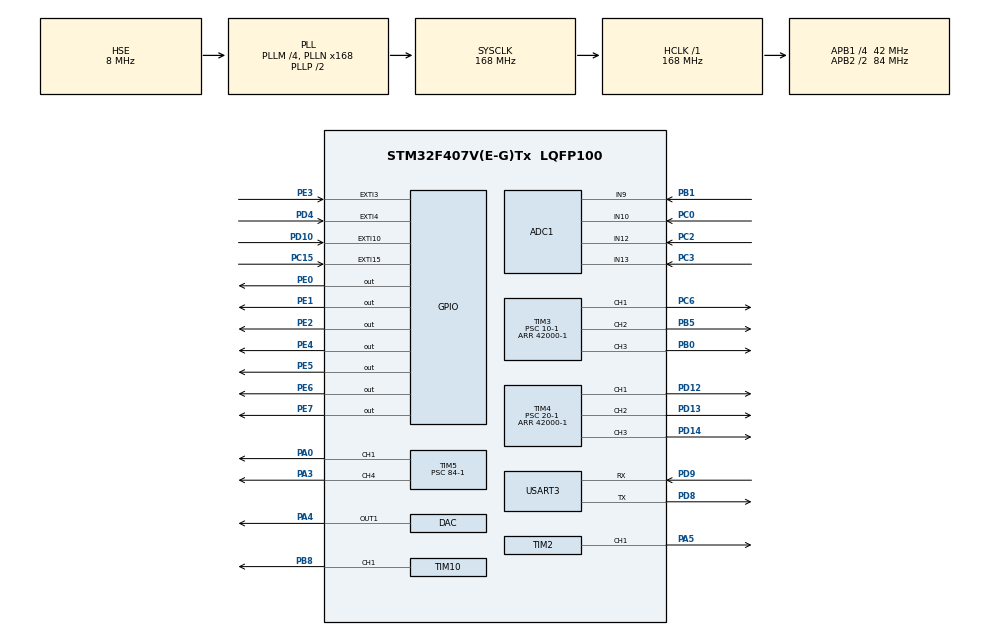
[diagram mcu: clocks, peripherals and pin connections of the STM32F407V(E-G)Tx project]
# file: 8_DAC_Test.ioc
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ADC1.Channel-0\#ChannelRegularConversion=ADC_CHANNEL_10
ADC1.Channel-1\#ChannelRegularConversion=ADC_CHANNEL_12
ADC1.Channel-2\#ChannelRegularConversion=ADC_CHANNEL_13
ADC1.Channel-3\#ChannelRegularConversion=ADC_CHANNEL_9
ADC1.ClockPrescaler=ADC_CLOCK_SYNC_PCLK_DIV4
ADC1.ContinuousConvMode=ENABLE
ADC1.DiscontinuousConvMode=DISABLE
ADC1.EOCSelection=ADC_EOC_SINGLE_CONV
ADC1.NbrOfConversion=4
ADC1.NbrOfConversionFlag=1
ADC1.Rank-0\#ChannelRegularConversion=1
ADC1.Rank-1\#ChannelRegularConversion=2
ADC1.Rank-2\#ChannelRegularConversion=3
ADC1.Rank-3\#ChannelRegularConversion=4
ADC1.SamplingTime-0\#ChannelRegularConversion=ADC_SAMPLETIME_84CYCLES
ADC1.SamplingTime-1\#ChannelRegularConversion=ADC_SAMPLETIME_84CYCLES
ADC1.SamplingTime-2\#ChannelRegularConversion=ADC_SAMPLETIME_84CYCLES
ADC1.SamplingTime-3\#ChannelRegularConversion=ADC_SAMPLETIME_3CYCLES
ADC1.ScanConvMode=ENABLE
ADC1.master=1
Dma.ADC1.0.Direction=DMA_PERIPH_TO_MEMORY
Dma.ADC1.0.FIFOMode=DMA_FIFOMODE_DISABLE
Dma.ADC1.0.Instance=DMA2_Stream0
Dma.ADC1.0.MemDataAlignment=DMA_MDATAALIGN_HALFWORD
Dma.ADC1.0.MemInc=DMA_MINC_ENABLE
Dma.ADC1.0.Mode=DMA_CIRCULAR
Dma.ADC1.0.PeriphDataAlignment=DMA_PDATAALIGN_HALFWORD
Dma.ADC1.0.PeriphInc=DMA_PINC_DISABLE
Dma.ADC1.0.Priority=DMA_PRIORITY_LOW
Dma.Request0=ADC1
Mcu.Family=STM32F4
Mcu.Name=STM32F407V(E-G)Tx
Mcu.Package=LQFP100
NVIC.DMA2_Stream0_IRQn=true\:0\:0\:false\:false\:true\:false\:true\:true
NVIC.EXTI15_10_IRQn=true\:0\:0\:false\:false\:true\:true\:true\:true
NVIC.EXTI3_IRQn=true\:0\:0\:false\:false\:true\:true\:true\:true
NVIC.EXTI4_IRQn=true\:0\:0\:false\:false\:true\:true\:true\:true
NVIC.PriorityGroup=NVIC_PRIORITYGROUP_4
NVIC.TIM7_IRQn=true\:0\:0\:false\:true\:true\:2\:true\:true\:true
NVIC.USART3_IRQn=true\:0\:0\:false\:true\:true\:1\:true\:true\:true
PA0-WKUP.Signal=S_TIM5_CH1
PA3.Signal=S_TIM5_CH4
PA4.Signal=COMP_DAC1_group
PA5.Signal=S_TIM2_CH1_ETR
PB0.Signal=S_TIM3_CH3
PB1.Signal=ADCx_IN9
PB5.Signal=S_TIM3_CH2
PB8.Signal=S_TIM10_CH1
PC0.Signal=ADCx_IN10
PC15-OSC32_OUT.Signal=GPXTI15
PC2.Signal=ADCx_IN12
PC3.Signal=ADCx_IN13
PC6.Signal=S_TIM3_CH1
PD10.Signal=GPXTI10
PD12.Signal=S_TIM4_CH1
PD13.Signal=S_TIM4_CH2
PD14.Signal=S_TIM4_CH3
PD4.Signal=GPXTI4
PD8.Mode=Asynchronous
PD8.Signal=USART3_TX
PD9.Mode=Asynchronous
PD9.Signal=USART3_RX
PE0.Signal=GPIO_Output
PE1.Signal=GPIO_Output
PE2.Signal=GPIO_Output
PE3.Signal=GPXTI3
PE4.Signal=GPIO_Output
PE5.Signal=GPIO_Output
PE6.Signal=GPIO_Output
PE7.Signal=GPIO_Output
PH0-OSC_IN.Mode=HSE-External-Oscillator
PH0-OSC_IN.Signal=RCC_OSC_IN
PH1-OSC_OUT.Mode=HSE-External-Oscillator
PH1-OSC_OUT.Signal=RCC_OSC_OUT
ProjectManager.HeapSize=0x200
ProjectManager.StackSize=0x400
ProjectManager.TargetToolchain=STM32CubeIDE
RCC.48MHZClocksFreq_Value=84000000
RCC.AHBFreq_Value=168000000
RCC.APB1CLKDivider=RCC_HCLK_DIV4
RCC.APB1Freq_Value=42000000
RCC.APB1TimFreq_Value=84000000
RCC.APB2CLKDivider=RCC_HCLK_DIV2
RCC.APB2Freq_Value=84000000
RCC.APB2TimFreq_Value=168000000
RCC.CortexFreq_Value=168000000
RCC.HCLKFreq_Value=168000000
RCC.HSE_VALUE=8000000
RCC.HSI_VALUE=16000000
RCC.LSE_VALUE=32768
RCC.PLLM=4
RCC.PLLN=168
RCC.PLLSourceVirtual=RCC_PLLSOURCE_HSE
RCC.SYSCLKFreq_VALUE=168000000
RCC.SYSCLKSource=RCC_SYSCLKSOURCE_PLLCLK
RCC.VCOOutputFreq_Value=336000000
SH.ADCx_IN10.0=ADC1_IN10,IN10
SH.ADCx_IN12.0=ADC1_IN12,IN12
SH.ADCx_IN13.0=ADC1_IN13,IN13
SH.ADCx_IN9.0=ADC1_IN9,IN9
SH.COMP_DAC1_group.0=DAC_OUT1,DAC_OUT1
SH.S_TIM10_CH1.0=TIM10_CH1,PWM Generation1 CH1
SH.S_TIM2_CH1_ETR.0=TIM2_CH1,PWM Generation1 CH1
SH.S_TIM3_CH1.0=TIM3_CH1,PWM Generation1 CH1
SH.S_TIM3_CH2.0=TIM3_CH2,PWM Generation2 CH2
SH.S_TIM3_CH3.0=TIM3_CH3,PWM Generation3 CH3
SH.S_TIM4_CH1.0=TIM4_CH1,PWM Generation1 CH1
SH.S_TIM4_CH2.0=TIM4_CH2,PWM Generation2 CH2
SH.S_TIM4_CH3.0=TIM4_CH3,PWM Generation3 CH3
SH.S_TIM5_CH1.0=TIM5_CH1,PWM Generation1 CH1
SH.S_TIM5_CH4.0=TIM5_CH4,Output Compare4 CH4
TIM10.Channel=TIM_CHANNEL_1
TIM10.Period=10000-1
TIM10.Prescaler=336-1
TIM10.Pulse=100
TIM2.Channel-PWM\ Generation1\ CH1=TIM_CHANNEL_1
TIM2.Period=1000-1
TIM2.Prescaler=168-1
TIM2.Pulse-PWM\ Generation1\ CH1=500
TIM3.Channel-PWM\ Generation1\ CH1=TIM_CHANNEL_1
TIM3.Channel-PWM\ Generation2\ CH2=TIM_CHANNEL_2
TIM3.Channel-PWM\ Generation3\ CH3=TIM_CHANNEL_3
TIM3.Period=42000-1
TIM3.Prescaler=10-1
TIM3.Pulse-PWM\ Generation1\ CH1=21000-1
TIM3.Pulse-PWM\ Generation2\ CH2=10500-1
TIM3.Pulse-PWM\ Generation3\ CH3=5250-1
TIM4.Channel-PWM\ Generation1\ CH1=TIM_CHANNEL_1
TIM4.Channel-PWM\ Generation2\ CH2=TIM_CHANNEL_2
TIM4.Channel-PWM\ Generation3\ CH3=TIM_CHANNEL_3
TIM4.Period=42000-1
TIM4.Prescaler=20-1
TIM4.Pulse-PWM\ Generation1\ CH1=21000-1
TIM4.Pulse-PWM\ Generation2\ CH2=10500-1
TIM4.Pulse-PWM\ Generation3\ CH3=5250-1
TIM5.Channel-Output\ Compare4\ CH4=TIM_CHANNEL_4
TIM5.Channel-PWM\ Generation1\ CH1=TIM_CHANNEL_1
TIM5.Period=10000-1
TIM5.Prescaler=84-1
TIM5.Pulse-PWM\ Generation1\ CH1=5000
TIM7.Period=8399
TIM7.Prescaler=9999
USART3.VirtualMode=VM_ASYNC
VP_TIM10_VS_ClockSourceINT.Mode=Enable_Timer
VP_TIM2_VS_ClockSourceINT.Mode=Internal
VP_TIM3_VS_ClockSourceINT.Mode=Internal
VP_TIM4_VS_ClockSourceINT.Mode=Internal
VP_TIM5_VS_ClockSourceINT.Mode=Internal
VP_TIM7_VS_ClockSourceINT.Mode=Enable_Timer
board=custom

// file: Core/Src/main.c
/* USER CODE BEGIN Header */
/**
  ******************************************************************************
  * @file           : main.c
  * @brief          : Main program body
  ******************************************************************************
  * @attention
  *
  * Copyright (c) 2022 STMicroelectronics.
  * All rights reserved.
  *
  * This software is licensed under terms that can be found in the LICENSE file
  * in the root directory of this software component.
  * If no LICENSE file comes with this software, it is provided AS-IS.
  *
  ******************************************************************************
  */
/* USER CODE END Header */
#include "main.h"
#include "adc.h"
#include "dac.h"
#include "dma.h"
#include "tim.h"
#include "usart.h"
#include "gpio.h"

/* USER CODE BEGIN Includes */
#include <stdio.h>
#include "CLCD.h"
#include "7seg.h"
#include <math.h> //v/
/* USER CODE END Includes */

uint8_t rx3_data;

void SystemClock_Config(void);
static void MX_NVIC_Init(void);
/* USER CODE BEGIN PFP */
int _write(int file, char* p, int len)
{
	HAL_UART_Transmit(&huart3, p, len, 10);
	return len;
}
/* USER CODE END PFP */

int main(void)
{
  /* USER CODE BEGIN 1 */
	volatile uint16_t adcval[4];
  /* USER CODE END 1 */

  /* MCU Configuration--------------------------------------------------------*/

  /* Reset of all peripherals, Initializes the Flash interface and the Systick. */
  HAL_Init();

  /* Configure the system clock */
  SystemClock_Config();

  /* Initialize all configured peripherals */
  MX_GPIO_Init();
  MX_DMA_Init();
  MX_USART3_UART_Init();
  MX_TIM7_Init();
  MX_TIM3_Init();
  MX_TIM4_Init();
  MX_TIM10_Init();
  MX_TIM2_Init();
  MX_TIM5_Init();
  MX_ADC1_Init();
  MX_DAC_Init();

  /* Initialize interrupts */
  MX_NVIC_Init();
  /* USER CODE BEGIN 2 */
	HAL_GPIO_WritePin(GPIOC, GPIO_PIN_6, GPIO_PIN_SET);
	HAL_GPIO_WritePin(GPIOB, GPIO_PIN_0, GPIO_PIN_SET);
	HAL_GPIO_WritePin(GPIOB, GPIO_PIN_5, GPIO_PIN_SET);

	HAL_GPIO_WritePin(GPIOD, GPIO_PIN_12, GPIO_PIN_SET);
	HAL_GPIO_WritePin(GPIOD, GPIO_PIN_13, GPIO_PIN_SET);
	HAL_GPIO_WritePin(GPIOD, GPIO_PIN_14, GPIO_PIN_SET);

	HAL_UART_Receive_IT(&huart3, &rx3_data, 1);
	HAL_TIM_Base_Start_IT(&htim7);

	_7SEG_GPIO_Init();

	HAL_TIM_PWM_Start(&htim3, TIM_CHANNEL_1);
	HAL_TIM_PWM_Start(&htim3, TIM_CHANNEL_2);
	HAL_TIM_PWM_Start(&htim3, TIM_CHANNEL_3);

	HAL_TIM_PWM_Start(&htim4, TIM_CHANNEL_1);
	HAL_TIM_PWM_Start(&htim4, TIM_CHANNEL_2);
	HAL_TIM_PWM_Start(&htim4, TIM_CHANNEL_3);

	HAL_TIM_PWM_Start(&htim10, TIM_CHANNEL_1); //servo

	//HAL_TIM_PWM_Start(&htim2, TIM_CHANNEL_1); //buzzer

	HAL_TIM_PWM_Start(&htim5, TIM_CHANNEL_1); //DC
	HAL_TIM_PWM_Start(&htim5, TIM_CHANNEL_4); //DC

	//HAL_ADC_Start_DMA(&hadc1, &adcval[0], 4); //DMA

	HAL_DAC_Start(&hdac, DAC_CHANNEL_1); //v/ DAC

	TIM10->CCR1 = 1500;

	//부저 주파수 상승
	//TIM2->ARR = 500;
	//TIM2->CCR1 = TIM2->ARR / 2;

	// 시계방향 회전(DC)
	TIM5->CCR1 = 0;
	TIM5->CCR4 = 5000; // 0 ~ 10000 값에 비례하게 회전 속도제어
  /* USER CODE END 2 */
	uint8_t a = 0;
	float f = 1.234;
	uint8_t str[20];
	uint16_t ccr = 0;
	uint16_t arr = 1000;
	uint8_t ud_flag = 0;
	uint16_t dacval = 0; //v/

  /* Infinite loop */
  while (1)
  {

  }
}

void SystemClock_Config(void)
{
  RCC_OscInitTypeDef RCC_OscInitStruct = {0};
  RCC_ClkInitTypeDef RCC_ClkInitStruct = {0};

  /** Configure the main internal regulator output voltage
  */
  __HAL_RCC_PWR_CLK_ENABLE();
  __HAL_PWR_VOLTAGESCALING_CONFIG(PWR_REGULATOR_VOLTAGE_SCALE1);

  /** Initializes the RCC Oscillators according to the specified parameters
  * in the RCC_OscInitTypeDef structure.
  */
  RCC_OscInitStruct.OscillatorType = RCC_OSCILLATORTYPE_HSE;
  RCC_OscInitStruct.HSEState = RCC_HSE_ON;
  RCC_OscInitStruct.PLL.PLLState = RCC_PLL_ON;
  RCC_OscInitStruct.PLL.PLLSource = RCC_PLLSOURCE_HSE;
  RCC_OscInitStruct.PLL.PLLM = 4;
  RCC_OscInitStruct.PLL.PLLN = 168;
  RCC_OscInitStruct.PLL.PLLP = RCC_PLLP_DIV2;
  RCC_OscInitStruct.PLL.PLLQ = 4;
  if (HAL_RCC_OscConfig(&RCC_OscInitStruct) != HAL_OK)
  {
    Error_Handler();
  }

  /** Initializes the CPU, AHB and APB buses clocks
  */
  RCC_ClkInitStruct.ClockType = RCC_CLOCKTYPE_HCLK|RCC_CLOCKTYPE_SYSCLK
                              |RCC_CLOCKTYPE_PCLK1|RCC_CLOCKTYPE_PCLK2;
  RCC_ClkInitStruct.SYSCLKSource = RCC_SYSCLKSOURCE_PLLCLK;
  RCC_ClkInitStruct.AHBCLKDivider = RCC_SYSCLK_DIV1;
  RCC_ClkInitStruct.APB1CLKDivider = RCC_HCLK_DIV4;
  RCC_ClkInitStruct.APB2CLKDivider = RCC_HCLK_DIV2;

  if (HAL_RCC_ClockConfig(&RCC_ClkInitStruct, FLASH_LATENCY_5) != HAL_OK)
  {
    Error_Handler();
  }
}

/**
  * @brief NVIC Configuration.
  * @retval None
  */
static void MX_NVIC_Init(void)
{
  /* USART3_IRQn interrupt configuration */
  HAL_NVIC_SetPriority(USART3_IRQn, 0, 0);
  HAL_NVIC_EnableIRQ(USART3_IRQn);
  /* TIM7_IRQn interrupt configuration */
  HAL_NVIC_SetPriority(TIM7_IRQn, 0, 0);
  HAL_NVIC_EnableIRQ(TIM7_IRQn);
}

/* USER CODE BEGIN 4 */
void HAL_UART_RxCpltCallback(UART_HandleTypeDef *huart)
{
	if(huart->Instance == USART3)
	{
		HAL_UART_Receive_IT(&huart3, &rx3_data, 1);
		HAL_UART_Transmit(&huart3, &rx3_data, 1, 10);
	}
}

void HAL_TIM_PeriodElapsedCallback(TIM_HandleTypeDef *htim)
{
	static unsigned char cnt = 0;
	if(htim->Instance == TIM7)
	{
		HAL_DAC_SetValue(&hdac, DAC_CHANNEL_1, DAC_ALIGN_12B_R, (sinf(2 * 3.1415926535f * 50 * cnt / 1000.f) + 1) * 2047); //v/
		cnt++;
		if(cnt > 999) cnt = 0;
	}
}

//외부 인터럽트가 걸리면 이 함수 호출
//함수 안에서 어떤 스위치가 눌렸는지 구분
void HAL_GPIO_EXTI_Callback(uint16_t GPIO_Pin)
{
	if(GPIO_Pin == GPIO_PIN_3)
	{
		HAL_GPIO_TogglePin(GPIOD, GPIO_PIN_12);
	}
	if(GPIO_Pin == GPIO_PIN_15)
	{
		HAL_GPIO_TogglePin(GPIOD, GPIO_PIN_13);

	}
	if(GPIO_Pin == GPIO_PIN_4)
	{
		HAL_GPIO_TogglePin(GPIOD, GPIO_PIN_14);

	}
	if(GPIO_Pin == GPIO_PIN_10)
	{
		HAL_GPIO_TogglePin(GPIOB, GPIO_PIN_0);
	}
}
/* USER CODE END 4 */

void Error_Handler(void)
{
  __disable_irq();
  while (1)
  {
  }
}
